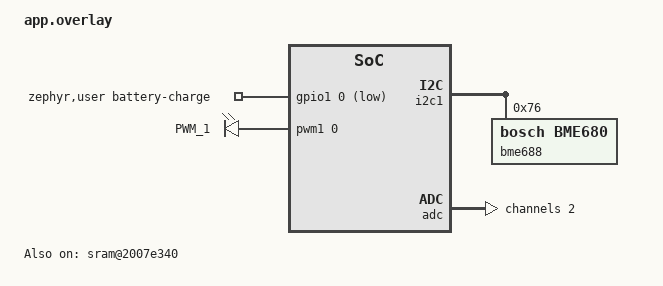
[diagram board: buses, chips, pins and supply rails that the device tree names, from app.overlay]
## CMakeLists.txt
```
#
# Copyright (c) 2021 Nordic Semiconductor ASA
#
# SPDX-License-Identifier: LicenseRef-Nordic-5-Clause
#

cmake_minimum_required(VERSION 3.20.0)

find_package(Zephyr REQUIRED HINTS $ENV{ZEPHYR_BASE})

project(matter-weather-station)

# Enable GNU STD support.
include(${ZEPHYR_CONNECTEDHOMEIP_MODULE_DIR}/config/nrfconnect/app/enable-gnu-std.cmake)

# NORDIC SDK APP START

# Include all source files that are located in the Matter common directory.
include(${ZEPHYR_NRF_MODULE_DIR}/samples/matter/common/cmake/source_common.cmake)

# Include Data Model utils
include(${ZEPHYR_NRF_MODULE_DIR}/samples/matter/common/cmake/data_model.cmake)

include(${ZEPHYR_NRF_MODULE_DIR}/samples/matter/common/cmake/zap_helpers.cmake)
ncs_get_zap_parent_dir(ZAP_PARENT_DIR)

target_include_directories(app PRIVATE
  src
  ${ZAP_PARENT_DIR}
)

target_sources(app PRIVATE
  src/app_task.cpp
  src/main.cpp
  src/battery.cpp
)

target_sources_ifdef(CONFIG_MATTER_WEATHER_STATION_BUZZER app PRIVATE
  src/buzzer.cpp
)

ncs_configure_data_model()
# NORDIC SDK APP END
```

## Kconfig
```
#
# Copyright (c) 2021 Nordic Semiconductor
#
# SPDX-License-Identifier: LicenseRef-Nordic-5-Clause
#

mainmenu "Matter weather station application"

config MATTER_WEATHER_STATION_BUZZER
	bool "Identify buzzer (PWM)"
	depends on BOARD_THINGY53
	default y
	help
	  When enabled the identify command will use a buzzer, in other cases, it will use an LED.

config MATTER_WEATHER_STATION_BATTERY
	bool "Battery measurement and charge control"
	depends on BOARD_THINGY53
	default y
	help
	  When enabled, battery voltage will be monitored.
	  Otherwise the Power Source cluster will expose mock data.

config AVERAGE_CURRENT_CONSUMPTION
	int "Average device current consumption in microamperes"
	default 0
	help
	  The predicted average current consumption of the Matter weather station
	  device, used to estimate the remaining battery time.

# Application configuration used for Thread networking
if OPENTHREAD

choice OPENTHREAD_NORDIC_LIBRARY_CONFIGURATION
	default OPENTHREAD_NORDIC_LIBRARY_MTD
endchoice

choice OPENTHREAD_DEVICE_TYPE
	default OPENTHREAD_MTD
endchoice

config IEEE802154_NRF5_RX_STACK_SIZE
	default 8192

config CHIP_ENABLE_ICD_SUPPORT
	default y

endif # OPENTHREAD

source "$(ZEPHYR_CONNECTEDHOMEIP_MODULE_DIR)/config/nrfconnect/chip-module/Kconfig.features"
source "$(ZEPHYR_CONNECTEDHOMEIP_MODULE_DIR)/config/nrfconnect/chip-module/Kconfig.defaults"
source "$(ZEPHYR_NRF_MODULE_DIR)/samples/matter/common/src/Kconfig"
source "Kconfig.zephyr"
```

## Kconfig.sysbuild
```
#
# Copyright (c) 2023 Nordic Semiconductor ASA
#
# SPDX-License-Identifier: LicenseRef-Nordic-5-Clause
#

if BOARD_THINGY53
#### Radio core
config NRF_DEFAULT_IPC_RADIO
	default y

# Enable IEEE802.15.4 serialization to network core
# This config automatically pulls in the `overlay-802154.conf` in the ipc_radio image
config NETCORE_IPC_RADIO_IEEE802154
	default y if !WIFI_NRF70

# Enable Bluetooth serialization to network core
# This config automatically pulls in the `overlay-bt_hci_ipc.conf` in the ipc_radio image
config NETCORE_IPC_RADIO_BT_HCI_IPC
	default y

config SECURE_BOOT_NETCORE
	default y

config NETCORE_APP_UPDATE
	default y

config MCUBOOT_NRF53_MULTI_IMAGE_UPDATE
	default y if NETCORE_APP_UPDATE

config DFU_MULTI_IMAGE_PACKAGE_NET
	default y

endif

#### DFU multi-image support
config DFU_MULTI_IMAGE_PACKAGE_BUILD
	default y

config DFU_MULTI_IMAGE_PACKAGE_APP
	default y

# Internal flash only for nRF54L15 tag with compression
if BOARD_NRF54L15TAG

config MCUBOOT_COMPRESSED_IMAGE_SUPPORT
	default y

endif

choice BOOTLOADER
	default BOOTLOADER_MCUBOOT
endchoice

#### Bootloader
choice MCUBOOT_MODE
	default MCUBOOT_MODE_OVERWRITE_ONLY
endchoice

choice BOOT_SIGNATURE_TYPE
	default BOOT_SIGNATURE_TYPE_RSA
endchoice


source "share/sysbuild/Kconfig"
```

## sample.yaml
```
sample:
  name: Matter Weather Station
  description: Matter Weather Station application
common:
  tags:
    - sysbuild
    - ci_applications_matter
tests:
  # This configuration is used for performing DFU over BLE between different NCS
  # applications on Thingy53.
  applications.matter_weather_station.debug.no_fd:
    sysbuild: true
    build_only: true
    platform_allow:
      - thingy53/nrf5340/cpuapp
      - nrf54l15tag/nrf54l15/cpuapp
    platform_exclude: thingy53/nrf5340/cpuapp/ns
    integration_platforms:
      - thingy53/nrf5340/cpuapp
      - nrf54l15tag/nrf54l15/cpuapp
  applications.matter_weather_station.debug:
    sysbuild: true
    build_only: true
    extra_args:
      - OVERLAY_CONFIG=overlay-factory_data.conf
      - FILE_SUFFIX=factory_data
      - CONFIG_CHIP_FACTORY_DATA=y
      - SB_CONFIG_MATTER_FACTORY_DATA_GENERATE=y
    platform_allow:
      - thingy53/nrf5340/cpuapp
      - nrf54l15tag/nrf54l15/cpuapp
    platform_exclude: thingy53/nrf5340/cpuapp/ns
    integration_platforms:
      - thingy53/nrf5340/cpuapp
      - nrf54l15tag/nrf54l15/cpuapp
  applications.matter_weather_station.release:
    sysbuild: true
    build_only: true
    extra_args:
      - OVERLAY_CONFIG=overlay-factory_data.conf
      - EXTRA_CONF_FILE=prj_release.conf
      - FILE_SUFFIX=factory_data
      - CONFIG_CHIP_FACTORY_DATA=y
      - SB_CONFIG_MATTER_FACTORY_DATA_GENERATE=y
    platform_allow:
      - thingy53/nrf5340/cpuapp
      - nrf54l15tag/nrf54l15/cpuapp
    platform_exclude: thingy53/nrf5340/cpuapp/ns
    integration_platforms:
      - thingy53/nrf5340/cpuapp
      - nrf54l15tag/nrf54l15/cpuapp
```

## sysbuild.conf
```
#
# Copyright (c) 2024 Nordic Semiconductor
#
# SPDX-License-Identifier: LicenseRef-Nordic-5-Clause
#

SB_CONFIG_MATTER=y
SB_CONFIG_MERGED_HEX_FILES=y
```

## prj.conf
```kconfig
#
# Copyright (c) 2021 Nordic Semiconductor ASA
#
# SPDX-License-Identifier: LicenseRef-Nordic-5-Clause
#

# This sample uses Kconfig.defaults to set options common for all
# samples. This file contains only options common to all boards.
# Board-specific options are in boards/<board>.conf.

# Enable CHIP
CONFIG_CHIP=y
CONFIG_CHIP_PROJECT_CONFIG="src/chip_project_config.h"
CONFIG_CHIP_DEVICE_PRODUCT_NAME="Matter Weather Station"

# Configure ZAP file name
CONFIG_NCS_SAMPLE_MATTER_ZAP_FILE_PATH="${APPLICATION_CONFIG_DIR}/src/default_zap/weather-station.zap"

# 32781 == 0x800D (matter example of Temperature measurement device as NCS Weather Station)
CONFIG_CHIP_DEVICE_PRODUCT_ID=32781
CONFIG_STD_CPP17=y

# Enable Matter pairing automatically on application start.
CONFIG_CHIP_ENABLE_PAIRING_AUTOSTART=y

# Enable Matter extended announcement and increase duration to 1 hour.
CONFIG_CHIP_BLE_EXT_ADVERTISING=y
CONFIG_CHIP_BLE_ADVERTISING_DURATION=60

# Enable Bluetooth Low Energy
CONFIG_BT_DEVICE_NAME="MatterWeather"

# Add support for LEDs, buttons and buzzer
CONFIG_DK_LIBRARY=y

# Sensors (BME680; board overlay enables correct I2C node)
CONFIG_I2C=y
CONFIG_SENSOR=y
CONFIG_BME680=y

# Suspend devices when the CPU goes into sleep
CONFIG_PM_DEVICE=y

# Other settings
CONFIG_IEEE802154_NRF5_RX_STACK_SIZE=8192
CONFIG_THREAD_NAME=y
CONFIG_MPU_STACK_GUARD=y
CONFIG_CHIP_LIB_SHELL=y
CONFIG_NCS_SAMPLE_MATTER_TEST_SHELL=y

# Enable DFU over Bluetooth LE SMP
CONFIG_CHIP_DFU_OVER_BT_SMP=y

# Increase system workqueue size, as SMP is processed within it
CONFIG_SYSTEM_WORKQUEUE_STACK_SIZE=4096

# 0x0302 (Temp. sensor)
CONFIG_CHIP_DEVICE_TYPE=770
CONFIG_BT_RX_STACK_SIZE=1500

# Logging (backend chosen per-board)
CONFIG_LOG=y
CONFIG_LOG_MODE_DEFERRED=y
CONFIG_LOG_PROCESS_THREAD_STACK_SIZE=1024
CONFIG_LOG_BUFFER_SIZE=8192
CONFIG_LOG_FUNC_NAME_PREFIX_DBG=n
CONFIG_MATTER_LOG_LEVEL_DBG=y
CONFIG_SHELL=y

# Disable Factory Data feature
CONFIG_CHIP_FACTORY_DATA_NONE=y
```

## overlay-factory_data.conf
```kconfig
#
# Copyright (c) 2022 Nordic Semiconductor ASA
#
# SPDX-License-Identifier: LicenseRef-Nordic-5-Clause
#

# Use this overlay to re-generate new PAI and DAC certificates.
# Be sure that chip-cert executable is added to your system PATH.

# Enable building the new factory data
CONFIG_CHIP_FACTORY_DATA=y
CONFIG_CHIP_FACTORY_DATA_BUILD=y
CONFIG_CHIP_FACTORY_DATA_NRFCONNECT_BACKEND=y
CONFIG_CHIP_FACTORY_DATA_USE_DEFAULT_CERTS=y
CONFIG_CHIP_FACTORY_DATA_MERGE_WITH_FIRMWARE=y
CONFIG_CHIP_DEVICE_GENERATE_ROTATING_DEVICE_UID=n
CONFIG_CHIP_FACTORY_DATA_GENERATE_ONBOARDING_CODES=y

# Set up the Factory Data
CONFIG_CHIP_DEVICE_SERIAL_NUMBER="3"
CONFIG_CHIP_DEVICE_VENDOR_ID=65521
CONFIG_CHIP_DEVICE_VENDOR_NAME="Nordic Semiconductor ASA"
CONFIG_CHIP_DEVICE_PRODUCT_ID=32781
CONFIG_CHIP_DEVICE_PRODUCT_NAME="Weather Station"
CONFIG_CHIP_DEVICE_MANUFACTURING_DATE="2022-07-12"
CONFIG_CHIP_DEVICE_HARDWARE_VERSION=1
CONFIG_CHIP_DEVICE_HARDWARE_VERSION_STRING="SVE"
CONFIG_CHIP_DEVICE_DISCRIMINATOR=0x635
CONFIG_CHIP_DEVICE_SPAKE2_PASSCODE=65286841
CONFIG_CHIP_DEVICE_SPAKE2_IT=1000
CONFIG_CHIP_DEVICE_SPAKE2_TEST_VERIFIER="3kX890KClffU+BvLXQm68RDvXWlyuPofi8DEFkv74mQEnC+g02oLJTkItSDLBUvuYX87D1C7SnHZ7PuWvDziO57cHjPgUlkEhlRj+bvWKmE/FEwKuffl+VB7Dlx9HurJwQ=="
CONFIG_CHIP_DEVICE_ROTATING_DEVICE_UID="1566d6032a898e53f7d58133a19ac9d2"
CONFIG_CHIP_DEVICE_ENABLE_KEY="449eb9544ee3eef8d9fb7accb514fada"
```

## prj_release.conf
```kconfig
#
# Copyright (c) 2021 Nordic Semiconductor ASA
#
# SPDX-License-Identifier: LicenseRef-Nordic-5-Clause
#

# This sample uses Kconfig.defaults to set options common for all
# samples. This file should contain only options specific for this sample
# or overrides of default values.

# Enable CHIP
CONFIG_CHIP=y
CONFIG_CHIP_PROJECT_CONFIG="src/chip_project_config.h"
CONFIG_CHIP_DEVICE_PRODUCT_NAME="Matter Weather Station"

# Configure ZAP file name
CONFIG_NCS_SAMPLE_MATTER_ZAP_FILE_PATH="${APPLICATION_CONFIG_DIR}/src/default_zap/weather-station.zap"

# 32781 == 0x800D (matter example of Temperature measurement device as NCS Weather Station)
CONFIG_CHIP_DEVICE_PRODUCT_ID=32781
CONFIG_STD_CPP17=y

# Enable Matter pairing automatically on application start.
CONFIG_CHIP_ENABLE_PAIRING_AUTOSTART=y

# Enable Matter extended announcement and increase duration to 1 hour.
CONFIG_CHIP_BLE_EXT_ADVERTISING=y
CONFIG_CHIP_BLE_ADVERTISING_DURATION=60

# Enable Bluetooth Low Energy
CONFIG_BT_DEVICE_NAME="MatterWeather"

# Add support for LEDs, buttons and buzzer
CONFIG_DK_LIBRARY=y

# Sensors (BME680; board overlay enables correct I2C node)
CONFIG_I2C=y
CONFIG_SENSOR=y
CONFIG_BME680=y

# Suspend devices when the CPU goes into sleep
CONFIG_PM_DEVICE=y

# Other settings
CONFIG_THREAD_NAME=n
CONFIG_MPU_STACK_GUARD=n
CONFIG_CHIP_LIB_SHELL=n
CONFIG_NCS_SAMPLE_MATTER_TEST_SHELL=n

# Enable DFU over Bluetooth LE SMP
CONFIG_CHIP_DFU_OVER_BT_SMP=y

# Increase system workqueue size, as SMP is processed within it
CONFIG_SYSTEM_WORKQUEUE_STACK_SIZE=4096

# 0x0302 (Temp. sensor)
CONFIG_CHIP_DEVICE_TYPE=770
CONFIG_BT_RX_STACK_SIZE=1500

# Disable all debug features
CONFIG_SHELL=n
CONFIG_OPENTHREAD_SHELL=n
CONFIG_CONSOLE=n
CONFIG_UART_CONSOLE=n
CONFIG_SERIAL=n
CONFIG_LOG=n
CONFIG_LOG_MODE_MINIMAL=n
CONFIG_THREAD_NAME=n
CONFIG_ASSERT_VERBOSE=n
CONFIG_ASSERT_NO_FILE_INFO=y

# Disable USB CDC ACM
CONFIG_BOARD_SERIAL_BACKEND_CDC_ACM=n

# Enable Watchdog
CONFIG_NCS_SAMPLE_MATTER_WATCHDOG=y

# Enable LTO
CONFIG_LTO=y
CONFIG_ISR_TABLES_LOCAL_DECLARATION=y

# Disable Factory Data feature
CONFIG_CHIP_FACTORY_DATA_NONE=y
```

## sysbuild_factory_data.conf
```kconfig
#
# Copyright (c) 2026 Nordic Semiconductor
#
# SPDX-License-Identifier: LicenseRef-Nordic-5-Clause
#

SB_CONFIG_MATTER=y
SB_CONFIG_MATTER_FACTORY_DATA_GENERATE=y
```

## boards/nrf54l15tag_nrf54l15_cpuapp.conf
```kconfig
#
# Copyright (c) 2026 Nordic Semiconductor ASA
#
# SPDX-License-Identifier: LicenseRef-Nordic-5-Clause
#

# Console and logs over RTT (tag has no UART)
CONFIG_USE_SEGGER_RTT=y
CONFIG_CONSOLE=y
CONFIG_RTT_CONSOLE=y
CONFIG_UART_CONSOLE=n
CONFIG_LOG_BACKEND_RTT=y

# No NFC hardware (NFCT pins used as GPIO)
CONFIG_CHIP_NFC_ONBOARDING_PAYLOAD=n

# No diagnostic log retention on this board
CONFIG_NCS_SAMPLE_MATTER_DIAGNOSTIC_LOGS=n

# Watchdog
CONFIG_NCS_SAMPLE_MATTER_WATCHDOG=y

# Size optimization
CONFIG_LTO=y
CONFIG_ISR_TABLES_LOCAL_DECLARATION=y

# Mock value
CONFIG_AVERAGE_CURRENT_CONSUMPTION=1000
```

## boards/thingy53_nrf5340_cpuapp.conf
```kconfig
#
# Copyright (c) 2026 Nordic Semiconductor ASA
#
# SPDX-License-Identifier: LicenseRef-Nordic-5-Clause
#

# Buzzer (PWM)
CONFIG_PWM=y

# Battery measurement (ADC)
CONFIG_ADC=y

# Power profiling
CONFIG_AVERAGE_CURRENT_CONSUMPTION=10000

# UART console and shell
CONFIG_SHELL_LOG_BACKEND=y
CONFIG_SHELL_BACKEND_SERIAL_INIT_PRIORITY=51
CONFIG_LOG_MODE_DEFERRED=y
CONFIG_LOG_PROCESS_THREAD_STACK_SIZE=1024
CONFIG_LOG_BUFFER_SIZE=8192
CONFIG_LOG_FUNC_NAME_PREFIX_DBG=n

# USB CDC ACM
CONFIG_USB_DEVICE_STACK_NEXT=y
CONFIG_CDC_ACM_SERIAL_MANUFACTURER_STRING="Nordic Semiconductor ASA"
CONFIG_CDC_ACM_SERIAL_PRODUCT_STRING="Thingy:53 Matter Weather"
CONFIG_CDC_ACM_SERIAL_VID=0x1915
CONFIG_CDC_ACM_SERIAL_PID=0x530D
CONFIG_UART_LINE_CTRL=y

# Diagnostic logs
CONFIG_NCS_SAMPLE_MATTER_DIAGNOSTIC_LOGS=y
CONFIG_NCS_SAMPLE_MATTER_DIAGNOSTIC_LOGS_CRASH_LOGS=y
CONFIG_NCS_SAMPLE_MATTER_DIAGNOSTIC_LOGS_REMOVE_CRASH_AFTER_READ=y
CONFIG_NCS_SAMPLE_MATTER_DIAGNOSTIC_LOGS_END_USER_LOGS=y
CONFIG_NCS_SAMPLE_MATTER_DIAGNOSTIC_LOGS_NETWORK_LOGS=y
CONFIG_NCS_SAMPLE_MATTER_DIAGNOSTIC_LOGS_TEST=y

# NVS settings: storage partition is 48 KiB (0xc000); 12 × 4 KiB sectors.
CONFIG_SETTINGS_NVS_SECTOR_COUNT=12
```

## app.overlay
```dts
/*
 * Copyright (c) 2021 Nordic Semiconductor ASA
 *
 * SPDX-License-Identifier: LicenseRef-Nordic-5-Clause
 */

#include <zephyr/dt-bindings/ipc_service/static_vrings.h>

/ {
	zephyr,user {
		battery-charge-gpios = <&gpio1 0 (GPIO_PULL_UP | GPIO_ACTIVE_LOW)>;
	};

	pwmbuzzer {
		compatible = "pwm-leds";
		status = "okay";

		buzzer: buzzer_pwm {
			pwms = <&pwm1 0 PWM_HZ(100) PWM_POLARITY_NORMAL>;
			label = "PWM_1";
		};
	};

	aliases {
		buzzer-pwm = &buzzer;
	};

	sram@2007e340 {
		compatible = "zephyr,memory-region", "mmio-sram";
		reg = <0x2007e340 0x1cc0>;
		zephyr,memory-region = "DiagnosticLogMem";
		status = "okay";

		retainedmem {
			compatible = "zephyr,retained-ram";
			status = "okay";
			#address-cells = <1>;
			#size-cells = <1>;

			/* Reserve 192 B for the crash logs. */
			crash_retention: retention@0 {
				compatible = "zephyr,retention";
				status = "okay";
				reg = <0x0 0xc0>;
				prefix = [08 04];
				checksum = <2>;
			};

			/* Reserve 6 kB for the network logs. */
			network_logs_retention: retention@c0 {
				compatible = "zephyr,retention";
				status = "okay";
				reg = <0xc0 0x1800>;
				prefix = [06 03];
				checksum = <2>;
			};

			/* Reserve 1 kB for the end user logs. */
			end_user_logs_retention: retention@18c0 {
				compatible = "zephyr,retention";
				status = "okay";
				reg = <0x18c0 0x400>;
				prefix = [05 02];
				checksum = <2>;
			};
		};
	};
};

/* Set IPC thread priority to the highest value to not collide with other threads. */
&ipc0 {
	zephyr,priority = <0 PRIO_COOP>;
};

&i2c1 {
	bme688@76 {
		compatible = "bosch,bme680";
		reg = <0x76>;
	};
};

&adc {
	#address-cells = <1>;
	#size-cells = <0>;

	channel@2 {
		reg = <2>;
		zephyr,gain = "ADC_GAIN_1";
		zephyr,reference = "ADC_REF_INTERNAL";
		zephyr,acquisition-time = <ADC_ACQ_TIME(ADC_ACQ_TIME_MICROSECONDS, 40)>;
		zephyr,input-positive = <NRF_SAADC_AIN2>;
		zephyr,resolution = <12>;
		zephyr,oversampling = <4>;
	};
};

/* Disable unused peripherals to reduce power consumption */
&pwm0 {
	status = "disabled";
};

&pwm2 {
	status = "disabled";
};

/* Reduce SRAM0 usage by 7360 B to account for non-init area */
&sram0 {
	reg = <0x20000000 0x7e340>;
};
```

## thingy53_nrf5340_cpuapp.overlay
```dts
/*
 * Copyright (c) 2021 Nordic Semiconductor ASA
 *
 * SPDX-License-Identifier: LicenseRef-Nordic-5-Clause
 */

/*
 * This file is used to enable a partition which is used through the flash API
 * but which is in reality stored in RAM. This is done to load data from
 * external flash to the network core. Since the network core cannot access
 * the external flash directly, the data is buffered in RAM before being
 * copied by the network core to the network core flash.
 *
 * The partition must be enabled by the application configuration to prevent
 * bus faults when mcumgr tries to access simulated partition with network core
 * image data.
 */

/ {
	soc {
		/* Add a flash controller which has the compatible
		 * 'zephyr,sim-flash'. This will ensure that the flash
		 * simulator can use it. None of the other properties in this
		 * node is used for anything.
		 */
		nordic_ram_flash_controller: nordic_ram-flash-controller@0 {
			compatible = "zephyr,sim-flash";
			reg = <0x00000000 DT_SIZE_K(40)>;
			#address-cells = <1>;
			#size-cells = <1>;
			erase-value = <0xff>;
			label = "nordic_ram_flash_flash_controller";

			/* This node label must match that used in the flash
			 * simulator.
			 */
			flash_sim0: flash_sim@0 {
				status = "okay";
				compatible = "soc-nv-flash";
				label = "simulated_flash";
				erase-block-size = <4096>;
				write-block-size = <4>;
				reg = <0x00000000 DT_SIZE_K(256)>;

				partitions {
					compatible = "fixed-partitions";
					#address-cells = <1>;
					#size-cells = <1>;

					/* This partition must be defined for
					 * MCUboot to find the partition ID
					 * of the primary slot for image 1,
					 * which is stored in this partition.
					 */
					slot2_partition: partition@0 {
						label = "image-2";
						reg = <0x00000000 0x00000A000>;
					};
				};
			};
		};
	};

	chosen {
		zephyr,console = &cdc_acm_uart0;
		zephyr,shell-uart = &cdc_acm_uart0;
	};
};

&zephyr_udc0 {
	cdc_acm_uart0: cdc_acm_uart0 {
		compatible = "zephyr,cdc-acm-uart";
		label = "CDC_ACM_0";
	};
};

&i2c1 {
	bme688@76 {
		compatible = "bosch,bme680";
		label = "BME688";
		reg = <0x76>;
	};
};

/* Disable unused peripherals to reduce power consumption */
&adc {
	status = "disabled";
};
&gpio1 {
	status = "disabled";
};
&pwm0 {
	status = "disabled";
};
&pwm1 {
	status = "disabled";
};
&pwm2 {
	status = "disabled";
};
```

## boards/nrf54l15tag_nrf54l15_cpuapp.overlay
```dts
/*
 * Copyright (c) 2026 Nordic Semiconductor ASA
 *
 * SPDX-License-Identifier: LicenseRef-Nordic-5-Clause
 */

/ {
	aliases {
		/* Use watchdog wdt31 as the application watchdog */
		watchdog0 = &wdt31;
	};
};

/* BME688 (temperature pressure and humidity sensor) */
&i2c21 {
	bme688@76 {
		status = "okay";
	};
};

/* restore full RRAM and SRAM space - by default some parts are dedicated to FLRP */
&cpuapp_rram {
	reg = <0x0 DT_SIZE_K(1524)>;
};

&cpuapp_sram {
	reg = <0x20000000 DT_SIZE_K(256)>;
	ranges = <0x0 0x20000000 0x40000>;
};

&wdt31 {
	status = "okay";
};
```

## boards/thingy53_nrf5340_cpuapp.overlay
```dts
/*
 * Copyright (c) 2026 Nordic Semiconductor ASA
 *
 * SPDX-License-Identifier: LicenseRef-Nordic-5-Clause
 */

#include <zephyr/dt-bindings/ipc_service/static_vrings.h>

/ {
	zephyr,user {
		battery-charge-gpios = <&gpio1 0 (GPIO_PULL_UP | GPIO_ACTIVE_LOW)>;
	};

	pwmbuzzer {
		compatible = "pwm-leds";
		status = "okay";

		buzzer: buzzer_pwm {
			pwms = <&pwm1 0 PWM_HZ(100) PWM_POLARITY_NORMAL>;
			label = "PWM_1";
		};
	};

	aliases {
		buzzer-pwm = &buzzer;
	};

	sram@2007e340 {
		compatible = "zephyr,memory-region", "mmio-sram";
		reg = <0x2007e340 0x1cc0>;
		zephyr,memory-region = "DiagnosticLogMem";
		status = "okay";

		retainedmem {
			compatible = "zephyr,retained-ram";
			status = "okay";
			#address-cells = <1>;
			#size-cells = <1>;

			/* Reserve 192 B for the crash logs. */
			crash_retention: retention@0 {
				compatible = "zephyr,retention";
				status = "okay";
				reg = <0x0 0xc0>;
				prefix = [08 04];
				checksum = <2>;
			};

			/* Reserve 6 kB for the network logs. */
			network_logs_retention: retention@c0 {
				compatible = "zephyr,retention";
				status = "okay";
				reg = <0xc0 0x1800>;
				prefix = [06 03];
				checksum = <2>;
			};

			/* Reserve 1 kB for the end user logs. */
			end_user_logs_retention: retention@18c0 {
				compatible = "zephyr,retention";
				status = "okay";
				reg = <0x18c0 0x400>;
				prefix = [05 02];
				checksum = <2>;
			};
		};
	};
};

/* Set IPC thread priority to the highest value to not collide with other threads. */
&ipc0 {
	zephyr,priority = <0 PRIO_COOP>;
};

/delete-node/ &boot_partition;
/delete-node/ &slot0_partition;
/delete-node/ &slot1_partition;
/delete-node/ &storage_partition;

&flash0 {
	partitions {
		ranges;
		#address-cells = <1>;
		#size-cells = <1>;

		boot_partition: partition@0 {
			compatible = "zephyr,mapped-partition";
			label = "mcuboot";
			reg = <0x00000000 DT_SIZE_K(64)>;
		};

		slot0_partition: partition@10000 {
			compatible = "zephyr,mapped-partition";
			label = "image-0";
			reg = <0x00010000 DT_SIZE_K(896)>;
		};

		factory_data_partition: partition@f0000 {
			compatible = "zephyr,mapped-partition";
			label = "factory-data";
			reg = <0x000f0000 DT_SIZE_K(16)>;
		};

		storage_partition: partition@f4000 {
			compatible = "zephyr,mapped-partition";
			label = "storage";
			reg = <0x000f4000 DT_SIZE_K(48)>;
		};
	};
};

&mx25r64 {
	status = "okay";

	partitions {
		compatible = "fixed-partitions";
		#address-cells = <1>;
		#size-cells = <1>;

		slot1_partition: partition@0 {
			label = "image-1";
			reg = <0x00000000 DT_SIZE_K(896)>;
		};

		slot3_partition: partition@e0000 {
			label = "image-3";
			reg = <0xe0000 DT_SIZE_K(256)>;
		};
	};
};

&i2c1 {
	bme688@76 {
		compatible = "bosch,bme680";
		reg = <0x76>;
	};
};

&adc {
	#address-cells = <1>;
	#size-cells = <0>;

	channel@2 {
		reg = <2>;
		zephyr,gain = "ADC_GAIN_1";
		zephyr,reference = "ADC_REF_INTERNAL";
		zephyr,acquisition-time = <ADC_ACQ_TIME(ADC_ACQ_TIME_MICROSECONDS, 40)>;
		zephyr,input-positive = <NRF_SAADC_AIN2>;
		zephyr,resolution = <12>;
		zephyr,oversampling = <4>;
	};
};

/* Disable unused peripherals to reduce power consumption */
&pwm0 {
	status = "disabled";
};

&pwm2 {
	status = "disabled";
};

/* Reduce SRAM0 usage by 7360 B to account for non-init area */
&sram0 {
	reg = <0x20000000 0x7e340>;
};
```

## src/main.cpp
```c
/*
 * Copyright (c) 2021 Nordic Semiconductor ASA
 *
 * SPDX-License-Identifier: LicenseRef-Nordic-5-Clause
 */

#include "app_task.h"

#include <zephyr/logging/log.h>

#ifdef CONFIG_USB_DEVICE_STACK
#include <zephyr/usb/usb_device.h>
#endif

LOG_MODULE_REGISTER(app, CONFIG_CHIP_APP_LOG_LEVEL);

int main()
{
	CHIP_ERROR err = CHIP_NO_ERROR;

#ifdef CONFIG_USB_DEVICE_STACK
	err = chip::System::MapErrorZephyr(usb_enable(NULL));
	if (err != CHIP_NO_ERROR) {
		LOG_ERR("Failed to initialize USB device");
	}
#endif

	if (err == CHIP_NO_ERROR) {
		err = AppTask::Instance().StartApp();
	}

	LOG_ERR("Exited with code %" CHIP_ERROR_FORMAT, err.Format());
	return err == CHIP_NO_ERROR ? EXIT_SUCCESS : EXIT_FAILURE;
}
```

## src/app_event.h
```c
/*
 * Copyright (c) 2021 Nordic Semiconductor ASA
 *
 * SPDX-License-Identifier: LicenseRef-Nordic-5-Clause
 */

#pragma once

#include <cstdint>

class LEDWidget;

struct AppEvent {
	enum FunctionEventType : uint8_t {
		FunctionPress,
		FunctionRelease,
		FunctionTimer,
		MeasurementsTimer,
		IdentifyTimer,
	};

	enum UpdateLedStateEventType : uint8_t { UpdateLedState = IdentifyTimer + 1 };

	AppEvent() = default;

	explicit AppEvent(FunctionEventType type) : Type(type) {}

	AppEvent(UpdateLedStateEventType type, LEDWidget *ledWidget) : Type(type), UpdateLedStateEvent{ ledWidget } {}

	uint8_t Type;

	struct {
		LEDWidget *LedWidget;
	} UpdateLedStateEvent;
};
```

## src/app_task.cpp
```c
/*
 * Copyright (c) 2021 Nordic Semiconductor ASA
 *
 * SPDX-License-Identifier: LicenseRef-Nordic-5-Clause
 */

#include "app_task.h"

#include "battery.h"
#ifdef CONFIG_MATTER_WEATHER_STATION_BUZZER
#include "buzzer.h"
#endif

#include "app/matter_init.h"
#include "app/task_executor.h"
#include "board/board.h"
#include "board/led_widget.h"
#include "clusters/identify.h"

#ifdef CONFIG_CHIP_DFU_OVER_BT_SMP
#include "dfu/smp/dfu_over_smp.h"
#endif

#include <app-common/zap-generated/attributes/Accessors.h>
#include <app-common/zap-generated/cluster-objects.h>
#include <app/DefaultTimerDelegate.h>
#include <app/cluster-building-blocks/QuieterReporting.h>
#include <app/server/Server.h>
#include <setup_payload/OnboardingCodesUtil.h>

#include <zephyr/drivers/sensor.h>
#include <zephyr/logging/log.h>

#ifdef CONFIG_MATTER_WEATHER_STATION_BUZZER
#define IDENTIFY_TYPE Clusters::Identify::IdentifyTypeEnum::kAudibleBeep
#else
#define IDENTIFY_TYPE Clusters::Identify::IdentifyTypeEnum::kLightOutput
#endif

LOG_MODULE_DECLARE(app, CONFIG_CHIP_APP_LOG_LEVEL);

using namespace ::chip;
using namespace ::chip::DeviceLayer;
using namespace ::chip::app;

namespace
{
enum class FunctionTimerMode { kDisabled, kFactoryResetTrigger, kFactoryResetComplete };
enum class LedState { kAlive, kAdvertisingBle, kConnectedBle, kProvisioned };

#if CONFIG_AVERAGE_CURRENT_CONSUMPTION <= 0
#error Invalid CONFIG_AVERAGE_CURRENT_CONSUMPTION value set
#endif

constexpr size_t kMeasurementsIntervalMs = 3000;
constexpr uint8_t kTemperatureMeasurementEndpointId = 1;
constexpr int16_t kTemperatureMeasurementAttributeMaxValue = 0x7fff;
constexpr int16_t kTemperatureMeasurementAttributeMinValue = 0x954d;
constexpr int16_t kTemperatureMeasurementAttributeInvalidValue = 0x8000;
constexpr uint8_t kHumidityMeasurementEndpointId = 2;
constexpr uint16_t kHumidityMeasurementAttributeMaxValue = 0x2710;
constexpr uint16_t kHumidityMeasurementAttributeMinValue = 0;
constexpr uint16_t kHumidityMeasurementAttributeInvalidValue = 0xffff;
constexpr uint8_t kPressureMeasurementEndpointId = 3;
constexpr int16_t kPressureMeasurementAttributeMaxValue = 0x7fff;
constexpr int16_t kPressureMeasurementAttributeMinValue = 0x8001;
constexpr int16_t kPressureMeasurementAttributeInvalidValue = 0x8000;
constexpr uint8_t kPowerSourceEndpointId = 0;
constexpr int16_t kMinimalOperatingVoltageMv = 3200;
constexpr int16_t kMaximalOperatingVoltageMv = 4050;
constexpr int16_t kWarningThresholdVoltageMv = 3450;
constexpr int16_t kCriticalThresholdVoltageMv = 3250;
constexpr uint8_t kMinBatteryPercentage = 0;
/* Value is expressed in half percent units ranging from 0 to 200. */
constexpr uint8_t kMaxBatteryPercentage = 200;
/* Battery capacity in uAh */
constexpr uint32_t kBatteryCapacityUaH = 1350000;
/* Average device current consumption in uA */
constexpr uint32_t kDeviceAverageCurrentConsumptionUa = CONFIG_AVERAGE_CURRENT_CONSUMPTION;
/* Fully charged battery operation time in seconds */
constexpr uint32_t kFullBatteryOperationTime = kBatteryCapacityUaH / kDeviceAverageCurrentConsumptionUa * 3600;
/* It is recommended to toggle the signalled state with 0.5 s interval. */
constexpr size_t kIdentifyTimerIntervalMs = 500;

k_timer sMeasurementsTimer;
k_timer sIdentifyTimer;

const device *sBme688SensorDev = DEVICE_DT_GET_ONE(bosch_bme680);

class IdentifyDelegateImplWeatherStation : public chip::app::Clusters::IdentifyDelegate {
public:
	void OnIdentifyStart(chip::app::Clusters::IdentifyCluster &cluster) override
	{
		Nrf::PostTask([] {
			Nrf::GetBoard().GetLED(Nrf::DeviceLeds::LED2).Blink(Nrf::LedConsts::kIdentifyBlinkRate_ms);
#if CONFIG_MATTER_WEATHER_STATION_BUZZER
			k_timer_start(&sIdentifyTimer, K_MSEC(kIdentifyTimerIntervalMs),
				      K_MSEC(kIdentifyTimerIntervalMs));
			BuzzerSetState(true);
#endif
		});
	}

	void OnIdentifyStop(chip::app::Clusters::IdentifyCluster &cluster) override
	{
		Nrf::PostTask([] {
			Nrf::GetBoard().GetLED(Nrf::DeviceLeds::LED2).Set(false);
#if CONFIG_MATTER_WEATHER_STATION_BUZZER
			k_timer_stop(&sIdentifyTimer);
			BuzzerSetState(false);
#endif
		});
	}

	/**
	 * Trigger Effect command is not supported by default by this device
	 * It can be enabled by returning true in the IsTriggerEffectEnabled function
	 * When enabled handle the command in the function below
	 */
	void OnTriggerEffect(chip::app::Clusters::IdentifyCluster &cluster) override
	{
#if CONFIG_MATTER_WEATHER_STATION_BUZZER
		Nrf::PostTask([] { BuzzerToggleState(); });
#endif
	}

	bool IsTriggerEffectEnabled() const override { return false; }
};

IdentifyDelegateImplWeatherStation sIdentifyDelegateImplWeatherStation;
DefaultTimerDelegate sTimerDelegate;

Nrf::Matter::IdentifyCluster sIdentifyTemperature(kTemperatureMeasurementEndpointId,
						  sIdentifyDelegateImplWeatherStation, sTimerDelegate,
						  IDENTIFY_TYPE);
Nrf::Matter::IdentifyCluster sIdentifyHumidity(kHumidityMeasurementEndpointId, sIdentifyDelegateImplWeatherStation,
					       sTimerDelegate, IDENTIFY_TYPE);
Nrf::Matter::IdentifyCluster sIdentifyPressure(kPressureMeasurementEndpointId, sIdentifyDelegateImplWeatherStation,
						sTimerDelegate, IDENTIFY_TYPE);

} /* namespace */

void AppTask::MeasurementsTimerHandler()
{
	Instance().UpdateClustersState();
}

void AppTask::IdentifyTimerHandler()
{
#if CONFIG_MATTER_WEATHER_STATION_BUZZER
	BuzzerToggleState();
#endif
}

void AppTask::UpdateTemperatureClusterState()
{
	sensor_value temperature;
	Protocols::InteractionModel::Status status;
	int result = sensor_channel_get(sBme688SensorDev, SENSOR_CHAN_AMBIENT_TEMP, &temperature);
	if (result == 0) {
		/* Defined by cluster temperature measured value = 100 x temperature in degC with resolution of
		 * 0.01 degC. val1 is an integer part of the value and val2 is fractional part in one-millionth
		 * parts. To achieve resolution of 0.01 degC val2 needs to be divided by 10000. */
		int16_t newValue = static_cast<int16_t>(temperature.val1 * 100 + temperature.val2 / 10000);

		if (newValue > kTemperatureMeasurementAttributeMaxValue ||
		    newValue < kTemperatureMeasurementAttributeMinValue) {
			/* Read value exceeds permitted limits, so assign invalid value code to it. */
			newValue = kTemperatureMeasurementAttributeInvalidValue;
		}
		LOG_DBG("New temperature measurement %d.%d *C", temperature.val1, temperature.val2);

		status = Clusters::TemperatureMeasurement::Attributes::MeasuredValue::Set(
			kTemperatureMeasurementEndpointId, newValue);
		if (status != Protocols::InteractionModel::Status::Success) {
			LOG_ERR("Updating temperature measurement %x", to_underlying(status));
		}
	} else {
		LOG_ERR("Getting temperature measurement data from BME688 failed with: %d", result);
	}
}

void AppTask::UpdatePressureClusterState()
{
	sensor_value pressure;
	Protocols::InteractionModel::Status status;
	int result = sensor_channel_get(sBme688SensorDev, SENSOR_CHAN_PRESS, &pressure);
	if (result == 0) {
		/* Defined by cluster pressure measured value = 10 x pressure in kPa with resolution of 0.1 kPa.
		 * val1 is an integer part of the value and val2 is fractional part in one-millionth parts.
		 * To achieve resolution of 0.1 kPa val2 needs to be divided by 100000. */
		int16_t newValue = static_cast<int16_t>(pressure.val1 * 10 + pressure.val2 / 100000);

		if (newValue > kPressureMeasurementAttributeMaxValue ||
		    newValue < kPressureMeasurementAttributeMinValue) {
			/* Read value exceeds permitted limits, so assign invalid value code to it. */
			newValue = kPressureMeasurementAttributeInvalidValue;
		}
		LOG_DBG("New pressure measurement %d.%d kPa", pressure.val1, pressure.val2);

		status = Clusters::PressureMeasurement::Attributes::MeasuredValue::Set(kPressureMeasurementEndpointId,
										       newValue);
		if (status != Protocols::InteractionModel::Status::Success) {
			LOG_ERR("Updating pressure measurement %x", to_underlying(status));
		}
	} else {
		LOG_ERR("Getting pressure measurement data from BME688 failed with: %d", result);
	}
}

void AppTask::UpdateRelativeHumidityClusterState()
{
	sensor_value humidity;
	Protocols::InteractionModel::Status status;
	int result = sensor_channel_get(sBme688SensorDev, SENSOR_CHAN_HUMIDITY, &humidity);
	if (result == 0) {
		/* Defined by cluster humidity measured value = 100 x humidity in %RH with resolution of 0.01 %.
		 * val1 is an integer part of the value and val2 is fractional part in one-millionth parts.
		 * To achieve resolution of 0.01 % val2 needs to be divided by 10000. */
		uint16_t newValue = static_cast<int16_t>(humidity.val1 * 100 + humidity.val2 / 10000);

		if (newValue > kHumidityMeasurementAttributeMaxValue ||
		    newValue < kHumidityMeasurementAttributeMinValue) {
			/* Read value exceeds permitted limits, so assign invalid value code to it. */
			newValue = kHumidityMeasurementAttributeInvalidValue;
		}
		LOG_DBG("New humidity measurement %d.%d %%", humidity.val1, humidity.val2);

		status = Clusters::RelativeHumidityMeasurement::Attributes::MeasuredValue::Set(
			kHumidityMeasurementEndpointId, newValue);
		if (status != Protocols::InteractionModel::Status::Success) {
			LOG_ERR("Updating relative humidity measurement %x", to_underlying(status));
		}
	} else {
		LOG_ERR("Getting humidity measurement data from BME688 failed with: %d", result);
	}
}

void AppTask::UpdatePowerSourceClusterState()
{
	Protocols::InteractionModel::Status status;
	int32_t voltage = BatteryMeasurementReadVoltageMv();
	/* Value is expressed in half percent units ranging from 0 to 200. */
	uint8_t batteryPercentage;
	uint32_t batteryTimeRemaining;
	Clusters::PowerSource::PowerSourceStatusEnum batteryStatus;
	Clusters::PowerSource::BatChargeLevelEnum batteryChargeLevel;
	bool batteryPresent;
	Clusters::PowerSource::BatChargeStateEnum batteryCharged;

	if (voltage < 0) {
		voltage = 0;
		batteryPercentage = 0;
		batteryStatus = Clusters::PowerSource::PowerSourceStatusEnum::kUnavailable;
		batteryPresent = false;

		LOG_ERR("Battery level measurement failed %d", voltage);
	} else {
		batteryStatus = Clusters::PowerSource::PowerSourceStatusEnum::kActive;
		batteryPresent = true;
	}

	if (voltage <= kMinimalOperatingVoltageMv) {
		batteryPercentage = kMinBatteryPercentage;
	} else if (voltage >= kMaximalOperatingVoltageMv) {
		batteryPercentage = kMaxBatteryPercentage;
	} else {
		batteryPercentage = kMaxBatteryPercentage * (voltage - kMinimalOperatingVoltageMv) /
				    (kMaximalOperatingVoltageMv - kMinimalOperatingVoltageMv);
	}

	batteryTimeRemaining = kFullBatteryOperationTime * batteryPercentage / kMaxBatteryPercentage;

	if (voltage < kCriticalThresholdVoltageMv) {
		batteryChargeLevel = Clusters::PowerSource::BatChargeLevelEnum::kCritical;
	} else if (voltage < kWarningThresholdVoltageMv) {
		batteryChargeLevel = Clusters::PowerSource::BatChargeLevelEnum::kWarning;
	} else {
		batteryChargeLevel = Clusters::PowerSource::BatChargeLevelEnum::kOk;
	}

	if (BatteryCharged()) {
		batteryCharged = Clusters::PowerSource::BatChargeStateEnum::kIsCharging;
	} else {
		batteryCharged = Clusters::PowerSource::BatChargeStateEnum::kIsNotCharging;
	}

	status = Clusters::PowerSource::Attributes::BatVoltage::Set(kPowerSourceEndpointId, voltage);
	if (status != Protocols::InteractionModel::Status::Success) {
		LOG_ERR("Updating battery voltage failed %x", to_underlying(status));
	}

	/* Battery attributes have a Q quality, it shouldn't be reported every time a new measurement comes (3s).
	 * update it only once every Xs(chose 10) or less frequent.
	 */
	static QuieterReportingAttribute<uint8_t> batPercentRemainingQuiet{ DataModel::NullNullable };
	static QuieterReportingAttribute<uint32_t> batTimeRemainingQuiet{ DataModel::NullNullable };
	constexpr System::Clock::Milliseconds64 kBatteryReportInterval{ 10000 };
	const System::Clock::Timestamp now = System::SystemClock().GetMonotonicTimestamp();

	const AttributeDirtyState batPercentDirty = batPercentRemainingQuiet.SetValue(
		DataModel::MakeNullable(batteryPercentage), now,
		QuieterReportingAttribute<uint8_t>::GetPredicateForSufficientTimeSinceLastDirty(kBatteryReportInterval));
	status = Clusters::PowerSource::Attributes::BatPercentRemaining::Set(
		kPowerSourceEndpointId, batteryPercentage,
		batPercentDirty == AttributeDirtyState::kMustReport ? MarkAttributeDirty::kYes : MarkAttributeDirty::kNo);
	if (status != Protocols::InteractionModel::Status::Success) {
		LOG_ERR("Updating battery percentage failed %x", to_underlying(status));
	}

	const AttributeDirtyState batTimeDirty = batTimeRemainingQuiet.SetValue(
		DataModel::MakeNullable(batteryTimeRemaining), now,
		QuieterReportingAttribute<uint32_t>::GetPredicateForSufficientTimeSinceLastDirty(kBatteryReportInterval));
	status = Clusters::PowerSource::Attributes::BatTimeRemaining::Set(
		kPowerSourceEndpointId, batteryTimeRemaining,
		batTimeDirty == AttributeDirtyState::kMustReport ? MarkAttributeDirty::kYes : MarkAttributeDirty::kNo);
	if (status != Protocols::InteractionModel::Status::Success) {
		LOG_ERR("Updating battery time remaining failed %x", to_underlying(status));
	}

	status = Clusters::PowerSource::Attributes::BatChargeLevel::Set(kPowerSourceEndpointId, batteryChargeLevel);
	if (status != Protocols::InteractionModel::Status::Success) {
		LOG_ERR("Updating battery charge level failed %x", to_underlying(status));
	}

	status = Clusters::PowerSource::Attributes::Status::Set(kPowerSourceEndpointId, batteryStatus);
	if (status != Protocols::InteractionModel::Status::Success) {
		LOG_ERR("Updating battery status failed %x", to_underlying(status));
	}

	status = Clusters::PowerSource::Attributes::BatPresent::Set(kPowerSourceEndpointId, batteryPresent);
	if (status != Protocols::InteractionModel::Status::Success) {
		LOG_ERR("Updating battery present failed %x", to_underlying(status));
	}

	status = Clusters::PowerSource::Attributes::BatChargeState::Set(kPowerSourceEndpointId, batteryCharged);
	if (status != Protocols::InteractionModel::Status::Success) {
		LOG_ERR("Updating battery charge failed %x", to_underlying(status));
	}
}

void AppTask::UpdateClustersState()
{
	const int result = sensor_sample_fetch(sBme688SensorDev);

	if (result == 0) {
		UpdateTemperatureClusterState();
		UpdatePressureClusterState();
		UpdateRelativeHumidityClusterState();
	} else {
		LOG_ERR("Fetching data from BME688 sensor failed with: %d", result);
	}

	UpdatePowerSourceClusterState();
}

void AppTask::UpdateLedState()
{
	if (!Instance().mGreenLED || !Instance().mBlueLED || !Instance().mRedLED) {
		return;
	}

	Instance().mGreenLED->Set(false);
	Instance().mBlueLED->Set(false);
	Instance().mRedLED->Set(false);

	switch (Nrf::GetBoard().GetDeviceState()) {
	case Nrf::DeviceState::DeviceAdvertisingBLE:
		Instance().mBlueLED->Blink(Nrf::LedConsts::StatusLed::Disconnected::kOn_ms,
					   Nrf::LedConsts::StatusLed::Disconnected::kOff_ms);
		break;
	case Nrf::DeviceState::DeviceDisconnected:
		Instance().mGreenLED->Blink(Nrf::LedConsts::StatusLed::Disconnected::kOn_ms,
					    Nrf::LedConsts::StatusLed::Disconnected::kOff_ms);
		break;
	case Nrf::DeviceState::DeviceConnectedBLE:
		Instance().mBlueLED->Blink(Nrf::LedConsts::StatusLed::BleConnected::kOn_ms,
					   Nrf::LedConsts::StatusLed::BleConnected::kOff_ms);
		break;
	case Nrf::DeviceState::DeviceProvisioned:
		Instance().mRedLED->Blink(Nrf::LedConsts::StatusLed::Disconnected::kOn_ms,
					  Nrf::LedConsts::StatusLed::Disconnected::kOff_ms);
		Instance().mBlueLED->Blink(Nrf::LedConsts::StatusLed::Disconnected::kOn_ms,
					   Nrf::LedConsts::StatusLed::Disconnected::kOff_ms);
		break;
	default:
		break;
	}
}

CHIP_ERROR AppTask::Init()
{
	/* Initialize Matter stack */
#ifdef CONFIG_CHIP_DFU_OVER_BT_SMP
	ReturnErrorOnFailure(
		Nrf::Matter::PrepareServer(Nrf::Matter::InitData{ .mPostServerInitClbk = []() -> CHIP_ERROR {
			Nrf::GetDFUOverSMP().StartServer();
			return CHIP_NO_ERROR;
		} }));
#else
	ReturnErrorOnFailure(Nrf::Matter::PrepareServer());
#endif

	/* Set references for RGB LED */
	mRedLED = &Nrf::GetBoard().GetLED(Nrf::DeviceLeds::LED1);
	mGreenLED = &Nrf::GetBoard().GetLED(Nrf::DeviceLeds::LED2);
	mBlueLED = &Nrf::GetBoard().GetLED(Nrf::DeviceLeds::LED3);

	if (!Nrf::GetBoard().Init(nullptr, UpdateLedState)) {
		LOG_ERR("User interface initialization failed.");
		return CHIP_ERROR_INCORRECT_STATE;
	}

	/* Register Matter event handler that controls the connectivity status LED based on the captured Matter network
	 * state. */
	ReturnErrorOnFailure(Nrf::Matter::RegisterEventHandler(Nrf::Board::DefaultMatterEventHandler, 0));

	if (!device_is_ready(sBme688SensorDev)) {
		LOG_ERR("BME688 sensor device not ready");
		return chip::System::MapErrorZephyr(-ENODEV);
	}

#if CONFIG_MATTER_WEATHER_STATION_BATTERY
	int ret_battery = BatteryMeasurementInit();
	if (ret_battery) {
		LOG_ERR("Battery measurement init failed");
		return chip::System::MapErrorZephyr(ret_battery);
	}

	ret_battery = BatteryMeasurementEnable();
	if (ret_battery) {
		LOG_ERR("Enabling battery measurement failed");
		return chip::System::MapErrorZephyr(ret_battery);
	}

	ret_battery = BatteryChargeControlInit();
	if (ret_battery) {
		LOG_ERR("Battery charge control init failed");
		return chip::System::MapErrorZephyr(ret_battery);
	}
#endif

#if CONFIG_MATTER_WEATHER_STATION_BUZZER
	int ret_buzzer = BuzzerInit();
	if (ret_buzzer) {
		LOG_ERR("Buzzer init failed");
		return chip::System::MapErrorZephyr(ret_buzzer);
	}
#endif

	ReturnErrorOnFailure(sIdentifyTemperature.Init());
	ReturnErrorOnFailure(sIdentifyHumidity.Init());
	ReturnErrorOnFailure(sIdentifyPressure.Init());

	/* Initialize timers */
	k_timer_init(
		&sMeasurementsTimer, [](k_timer *) { Nrf::PostTask([] { MeasurementsTimerHandler(); }); }, nullptr);
	k_timer_init(&sIdentifyTimer, [](k_timer *) { Nrf::PostTask([] { IdentifyTimerHandler(); }); }, nullptr);
	k_timer_start(&sMeasurementsTimer, K_MSEC(kMeasurementsIntervalMs), K_MSEC(kMeasurementsIntervalMs));

	return Nrf::Matter::StartServer();
}

CHIP_ERROR AppTask::StartApp()
{
	ReturnErrorOnFailure(Init());

	while (true) {
		Nrf::DispatchNextTask();
	}

	return CHIP_NO_ERROR;
}
```

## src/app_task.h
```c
/*
 * Copyright (c) 2021 Nordic Semiconductor ASA
 *
 * SPDX-License-Identifier: LicenseRef-Nordic-5-Clause
 */

#pragma once

#include "board/led_widget.h"

#include <platform/CHIPDeviceLayer.h>

class AppTask {
public:
	static AppTask &Instance()
	{
		static AppTask sAppTask;
		return sAppTask;
	};

	CHIP_ERROR StartApp();

	void UpdateClustersState();
	static void UpdateLedState();

private:
	CHIP_ERROR Init();

	void UpdateTemperatureClusterState();
	void UpdatePressureClusterState();
	void UpdateRelativeHumidityClusterState();
	void UpdatePowerSourceClusterState();

	static void MeasurementsTimerHandler();
	static void IdentifyTimerHandler();

	Nrf::LEDWidget *mRedLED;
	Nrf::LEDWidget *mGreenLED;
	Nrf::LEDWidget *mBlueLED;
};
```

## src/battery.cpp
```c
/*
 * Copyright (c) 2021 Nordic Semiconductor ASA
 *
 * SPDX-License-Identifier: LicenseRef-Nordic-5-Clause
 */
#include "battery.h"

#if CONFIG_MATTER_WEATHER_STATION_BATTERY

#include <hal/nrf_saadc.h>

#include <zephyr/drivers/adc.h>
#include <zephyr/drivers/gpio.h>

#include <zephyr/logging/log.h>

LOG_MODULE_DECLARE(app);

#define VBATT DT_PATH(vbatt)
#define ZEPHYR_USER DT_PATH(zephyr_user)

namespace
{
const struct gpio_dt_spec sPowerGpio = GPIO_DT_SPEC_GET(VBATT, power_gpios);
const struct gpio_dt_spec sChargeGpio = GPIO_DT_SPEC_GET(ZEPHYR_USER, battery_charge_gpios);
const uint32_t sFullOhms = DT_PROP(VBATT, full_ohms);
const uint32_t sOutputOhms = DT_PROP(VBATT, output_ohms);
const struct adc_dt_spec sAdc = ADC_DT_SPEC_GET(VBATT);

bool sBatteryConfigured = false;
bool sBatteryChargeConfigured = false;
int16_t sAdcBuffer = 0;

struct adc_sequence sAdcSeq = {
	.buffer = &sAdcBuffer,
	.buffer_size = sizeof(sAdcBuffer),
	.calibrate = true,
};
} /* namespace */

int BatteryMeasurementInit()
{
	int err;

	if (!device_is_ready(sPowerGpio.port)) {
		LOG_ERR("Battery measurement GPIO device not ready");
		return -ENODEV;
	}

	err = gpio_pin_configure_dt(&sPowerGpio, GPIO_OUTPUT_INACTIVE);
	if (err != 0) {
		LOG_ERR("Failed to configure battery measurement GPIO %d", err);
		return err;
	}

	if (!device_is_ready(sAdc.dev)) {
		LOG_ERR("ADC controller not ready");
		return -ENODEV;
	}

	err = adc_channel_setup_dt(&sAdc);
	if (err) {
		LOG_ERR("Setting up the ADC channel failed");
		return err;
	}

	(void)adc_sequence_init_dt(&sAdc, &sAdcSeq);

	sBatteryConfigured = true;

	return err;
}

int BatteryMeasurementEnable()
{
	int err = -ECANCELED;
	if (sBatteryConfigured) {
		err = gpio_pin_set_dt(&sPowerGpio, 1);
		if (err != 0) {
			LOG_ERR("Failed to enable measurement pin %d", err);
		}
	}
	return err;
}

int32_t BatteryMeasurementReadVoltageMv()
{
	int32_t result = -ECANCELED;
	if (sBatteryConfigured) {
		result = adc_read(sAdc.dev, &sAdcSeq);
		if (result == 0) {
			int32_t val = sAdcBuffer;
			adc_raw_to_millivolts_dt(&sAdc, &val);
			result = static_cast<int32_t>(static_cast<int64_t>(val) * sFullOhms / sOutputOhms);
		}
	}
	return result;
}

int BatteryChargeControlInit()
{
	if (!device_is_ready(sChargeGpio.port)) {
		LOG_ERR("Charge GPIO controller not ready");
		return -ENODEV;
	}

	int err = gpio_pin_configure_dt(&sChargeGpio, GPIO_INPUT);
	if (err != 0) {
		LOG_ERR("Failed to configure battery charge GPIO %d", err);
		return err;
	}

	sBatteryChargeConfigured = true;

	return 0;
}

bool BatteryCharged()
{
	if (!sBatteryChargeConfigured) {
		return true;
	}

	return static_cast<bool>(gpio_pin_get_dt(&sChargeGpio));
}

#else

int BatteryMeasurementInit()
{
	return 0;
}

int BatteryMeasurementEnable()
{
	return 0;
}

int32_t BatteryMeasurementReadVoltageMv()
{
	return 3500;
}

int BatteryChargeControlInit()
{
	return 0;
}

bool BatteryCharged()
{
	return false;
}

#endif
```

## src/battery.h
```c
/*
 * Copyright (c) 2021 Nordic Semiconductor ASA
 *
 * SPDX-License-Identifier: LicenseRef-Nordic-5-Clause
 */

#include <cstdint>

int BatteryMeasurementInit();
int BatteryMeasurementEnable();
int32_t BatteryMeasurementReadVoltageMv();
int BatteryChargeControlInit();
bool BatteryCharged();
```

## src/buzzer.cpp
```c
/*
 * Copyright (c) 2021 Nordic Semiconductor ASA
 *
 * SPDX-License-Identifier: LicenseRef-Nordic-5-Clause
 */

#include "buzzer.h"

#include <zephyr/drivers/pwm.h>

static const struct pwm_dt_spec sBuzzer = PWM_DT_SPEC_GET(DT_ALIAS(buzzer_pwm));

static bool sBuzzerState;

int BuzzerInit()
{
	if (!device_is_ready(sBuzzer.dev)) {
		return -ENODEV;
	}
	return 0;
}

void BuzzerSetState(bool onOff)
{
	sBuzzerState = onOff;
	pwm_set_pulse_dt(&sBuzzer, sBuzzerState ? (sBuzzer.period / 2) : 0);
}

void BuzzerToggleState()
{
	BuzzerSetState(!sBuzzerState);
}
```

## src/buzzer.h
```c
/*
 * Copyright (c) 2021 Nordic Semiconductor ASA
 *
 * SPDX-License-Identifier: LicenseRef-Nordic-5-Clause
 */

int BuzzerInit();
void BuzzerSetState(bool onOff);
void BuzzerToggleState();
```

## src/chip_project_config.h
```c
/*
 * Copyright (c) 2021 Nordic Semiconductor ASA
 *
 * SPDX-License-Identifier: LicenseRef-Nordic-5-Clause
 */

/**
 *    @file
 *          Example project configuration file for CHIP.
 *
 *          This is a place to put application or project-specific overrides
 *          to the default configuration values for general CHIP features.
 *
 */

#pragma once

#ifdef CONFIG_CHIP_FACTORY_DATA
/* Store Certification Declaration */
#define CHIP_DEVICE_CONFIG_CERTIFICATION_DECLARATION                                \
	{ 0x30, 0x81, 0xe9, 0x06, 0x09, 0x2a, 0x86, 0x48, 0x86, 0xf7, 0x0d, 0x01,		\
	  0x07, 0x02, 0xa0, 0x81, 0xdb, 0x30, 0x81, 0xd8, 0x02, 0x01, 0x03, 0x31,		\
	  0x0d, 0x30, 0x0b, 0x06, 0x09, 0x60, 0x86, 0x48, 0x01, 0x65, 0x03, 0x04,		\
	  0x02, 0x01, 0x30, 0x45, 0x06, 0x09, 0x2a, 0x86, 0x48, 0x86, 0xf7, 0x0d,		\
	  0x01, 0x07, 0x01, 0xa0, 0x38, 0x04, 0x36, 0x15, 0x24, 0x00, 0x01, 0x25,		\
	  0x01, 0xf1, 0xff, 0x36, 0x02, 0x05, 0x0d, 0x80, 0x18, 0x25, 0x03, 0x02,		\
	  0x03, 0x2c, 0x04, 0x13, 0x5a, 0x49, 0x47, 0x32, 0x30, 0x31, 0x34, 0x32,		\
	  0x5a, 0x42, 0x33, 0x33, 0x30, 0x30, 0x30, 0x33, 0x2d, 0x32, 0x34, 0x24,		\
	  0x05, 0x00, 0x24, 0x06, 0x00, 0x25, 0x07, 0x94, 0x26, 0x24, 0x08, 0x00,		\
	  0x18, 0x31, 0x7d, 0x30, 0x7b, 0x02, 0x01, 0x03, 0x80, 0x14, 0x62, 0xfa,		\
	  0x82, 0x33, 0x59, 0xac, 0xfa, 0xa9, 0x96, 0x3e, 0x1c, 0xfa, 0x14, 0x0a,		\
	  0xdd, 0xf5, 0x04, 0xf3, 0x71, 0x60, 0x30, 0x0b, 0x06, 0x09, 0x60, 0x86,		\
	  0x48, 0x01, 0x65, 0x03, 0x04, 0x02, 0x01, 0x30, 0x0a, 0x06, 0x08, 0x2a,		\
	  0x86, 0x48, 0xce, 0x3d, 0x04, 0x03, 0x02, 0x04, 0x47, 0x30, 0x45, 0x02,		\
	  0x21, 0x00, 0xc8, 0xd5, 0xd8, 0xc6, 0x4e, 0x18, 0x3b, 0x6c, 0x69, 0x23,		\
	  0xb2, 0x70, 0xcf, 0xf2, 0x24, 0x2a, 0xfb, 0x08, 0x42, 0xec, 0x3b, 0x7b,		\
	  0x09, 0x14, 0x4d, 0xc1, 0x98, 0x2c, 0xf5, 0x4a, 0x17, 0x0c, 0x02, 0x20,		\
	  0x39, 0xa0, 0xf7, 0xb4, 0x86, 0x10, 0x32, 0x33, 0x01, 0xc2, 0xe4, 0x0f,		\
	  0xe0, 0x4b, 0x9c, 0x2d, 0x4d, 0x41, 0x13, 0xfd, 0xc3, 0x11, 0xe1, 0x00,		\
	  0x34, 0xa4, 0xe1, 0x7c, 0x09, 0x27, 0x45, 0x7b };
#endif
```
